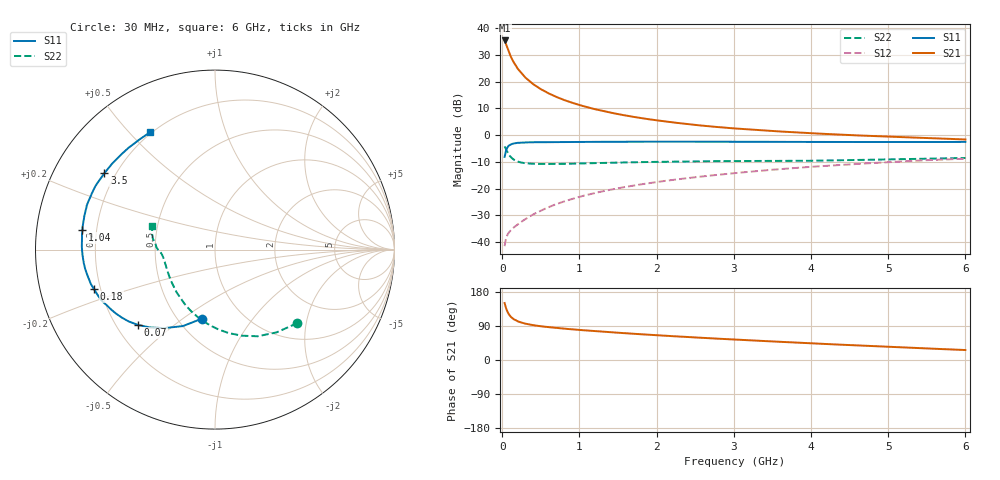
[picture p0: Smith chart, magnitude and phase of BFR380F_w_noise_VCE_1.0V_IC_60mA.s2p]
! Infineon Technologies  Discrete & RF Semiconductors
! BFR380F
! VCE =  1.0 V,  IC =  60 mA
! Common Emitter S-Parameters:  Nov 2015
# GHz  S  MA  R  50
!  f  S11  S21  S12  S22
! GHz  MAG  ANG  MAG  ANG  MAG  ANG  MAG  ANG
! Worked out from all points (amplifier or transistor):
!   206 points, 30 MHz to 6 GHz, reference 50 ohm
!   highest |S21| = 35.5 dB at 30 MHz (marker M1)
!   |S21| within 3 dB of that: start of sweep to 67.81 MHz
!   unconditionally stable (mu >= 1): 431.4 MHz to end of sweep
!   at 200 MHz: K = 0.78, MSG = 29.2 dB, |S12| = -33.5 dB
!   at 1.56 GHz: K = 1.12, MAG = 11.5 dB, |S12| = -19.6 dB
!   at 6 GHz: K = 1.04, MAG = 2.4 dB, |S12| = -8.8 dB
!   lowest NFmin = 1.67 dB at 900 MHz
!   S11 on the Smith chart (normalised r, x): 30 MHz: 0.65, -0.59; 70 MHz: 0.29, -0.38; 180 MHz: 0.17, -0.15; 1.04 GHz: 0.15, +0.07; 3.5 GHz: 0.16, +0.30; 6 GHz: 0.19, +0.57
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0.03  0.3912 -100.6  59.55 150.3  0.0083 67.6  0.6151 -41.7
0.04  0.4622 -112.8  54.63 142.6  0.0101 62.6  0.5751 -53.3
0.05  0.5219 -123.0  49.87 135.7  0.0118 58.3  0.5382 -63.8
0.06  0.5659 -130.0  45.28 130.7  0.0127 55.9  0.5024 -72.7
0.07  0.6 -135.6  41.32 125.8  0.0139 53.9  0.4716 -80.6
0.09  0.6436 -144.1  34.74 119.2  0.0153 50.7  0.4232 -93.6
0.11  0.6683 -150.1  29.81 114.1  0.0166 50.4  0.3891 -103.9
0.13  0.6871 -154.6  25.92 110.3  0.0177 50.3  0.3649 -112.3
0.15  0.6998 -158.3  22.89 107.3  0.0187 51.3  0.3471 -119.1
0.18  0.7096 -162.1  19.68 104.5  0.0202 52.7  0.3288 -126.5
0.2  0.7178 -164.5  17.58 102.0  0.0212 53.6  0.32 -131.9
0.24  0.7233 -167.7  14.94 99.3  0.0234 55.8  0.3079 -138.8
0.3  0.7312 -171.5  11.97 95.8  0.0267 58.9  0.2977 -147.1
0.45  0.7384 -177.3  8.057 90.4  0.0355 64.3  0.289 -158.7
0.7  0.7428 176.9  5.207 84.6  0.0509 68.9  0.2889 -167.8
1.04  0.7466 171.5  3.534 78.7  0.0723 71.0  0.2948 -173.7
2.02  0.7548 159.9  1.879 65.2  0.1334 70.0  0.3156 -179.6
3.1  0.7516 149.5  1.309 53.2  0.1998 66.0  0.3274 177.3
3.5  0.7491 145.4  1.193 48.9  0.2248 64.1  0.3288 176.5
4.1  0.7459 139.1  1.069 43.0  0.2605 60.6  0.333 174.6
5.1  0.7434 129.3  0.928 34.1  0.3172 54.9  0.3535 169.1
6  0.7472 119.1  0.83 26.3  0.3621 48.6  0.3734 159.4
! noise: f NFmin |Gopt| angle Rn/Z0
0.45  1.68  0.45  -175  0.08
0.9  1.67  0.47  -173  0.07
1.8  1.88  0.51  -161  0.1
1.9  1.99  0.51  -161  0.1
2.4  2.04  0.52  -152  0.13
3.5  2.67  0.55  -142  0.23
